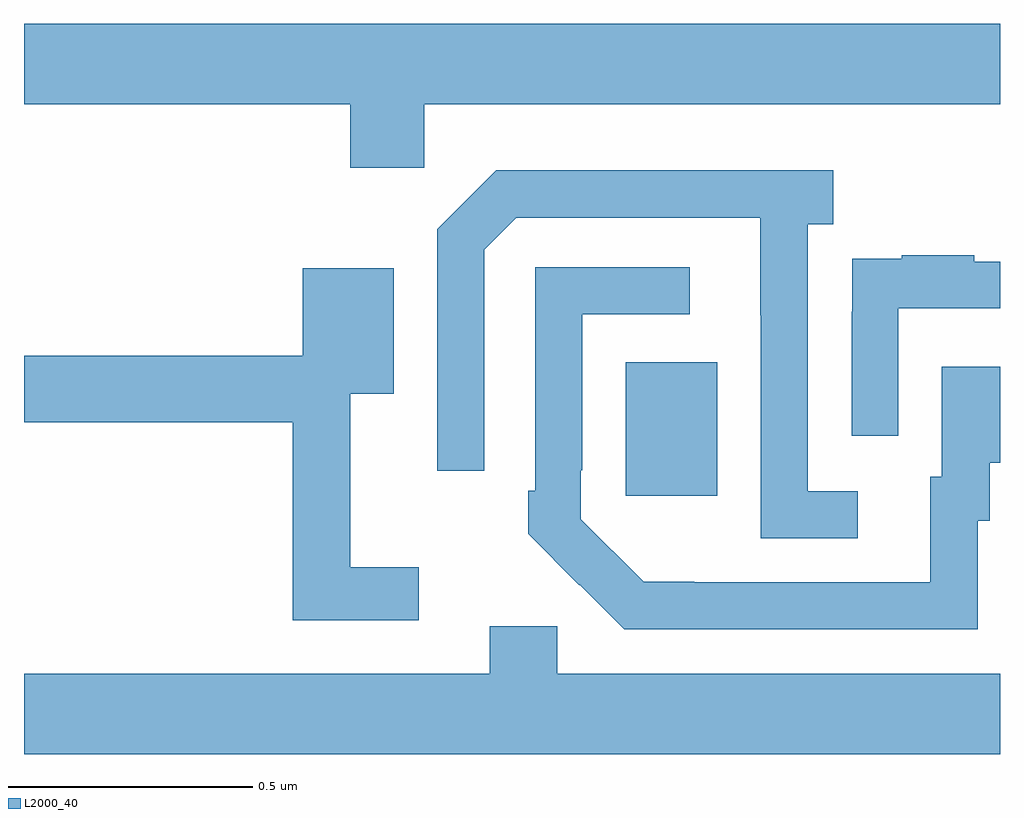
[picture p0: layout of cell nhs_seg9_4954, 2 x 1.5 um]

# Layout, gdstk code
import gdstk
lib = gdstk.Library(unit=1e-6, precision=1e-09)
def R(c, l, rs):  # rectangles x0, y0, x1, y1
    for r in rs: c.add(gdstk.rectangle(r[:2], r[2:], *l))
def P(c, l, *ps):  # polygons
    for p in ps: c.add(gdstk.Polygon(p, *l))
L2000_40 = (2000, 40)

nhs_seg9_4954 = lib.new_cell('nhs_seg9_4954')
R(nhs_seg9_4954, L2000_40, [(174.233,1190.289,174.421,1190.563)])
P(nhs_seg9_4954, L2000_40, [(173.82,1191.092),(175,1191.092),(175,1191.256),(173,1191.256),(173,1191.092),(173.669,1191.092),(173.669,1190.961),(173.82,1190.961)],
  [(174.709,1190.298),(174.606,1190.298),(174.606,1190.846),(174.658,1190.846),(174.658,1190.956),(173.968,1190.956),(173.847,1190.835),(173.847,1190.34),(173.943,1190.34),(173.943,1190.793),(174.009,1190.859),(174.509,1190.859),(174.509,1190.659),(174.51,1190.659),(174.51,1190.202),(174.709,1190.202)],
  [(174.792,1190.673),(175,1190.673),(175,1190.769),(174.947,1190.769),(174.947,1190.782),(174.799,1190.782),(174.799,1190.775),(174.697,1190.775),(174.697,1190.666),(174.696,1190.666),(174.696,1190.412),(174.792,1190.412)],
  [(174.954,1190.238),(174.979,1190.238),(174.979,1190.357),(175,1190.357),(175,1190.554),(174.881,1190.554),(174.881,1190.328),(174.857,1190.328),(174.857,1190.112),(174.373,1190.112),(174.373,1190.113),(174.27,1190.113),(174.141,1190.241),(174.141,1190.341),(174.144,1190.341),(174.144,1190.661),(174.364,1190.661),(174.364,1190.757),(174.048,1190.757),(174.048,1190.299),(174.033,1190.299),(174.033,1190.211),(174.138,1190.106),(174.139,1190.107),(174.23,1190.016),(174.954,1190.016)],
  [(173.809,1190.143),(173.669,1190.143),(173.669,1190.498),(173.758,1190.498),(173.758,1190.755),(173.571,1190.755),(173.571,1190.576),(173,1190.576),(173,1190.44),(173.551,1190.44),(173.551,1190.034),(173.809,1190.034)],
  [(175,1189.924),(174.093,1189.924),(174.093,1190.022),(173.954,1190.022),(173.954,1189.924),(173,1189.924),(173,1189.76),(175,1189.76)])

lib.write_gds('nhs_seg9_4954.gds')
